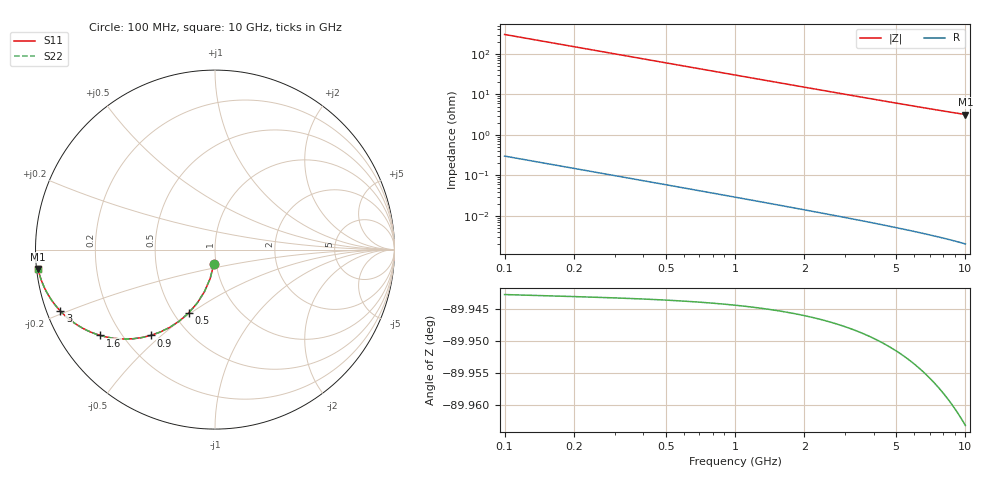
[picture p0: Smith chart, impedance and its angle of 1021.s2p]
# Hz S RI R 50.00
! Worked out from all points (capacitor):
!   100 points, 100 MHz to 10 GHz, reference 50 ohm
!   read as one part in shunt: C = 5.29 pF near 100 MHz
!   lowest |Z| = 3.19 ohm at 10 GHz (marker M1)
!   S11 on the Smith chart (normalised r, x): 100 MHz: 0.97, -0.16; 500 MHz: 0.59, -0.49; 900 MHz: 0.31, -0.46; 1.6 GHz: 0.12, -0.33; 3 GHz: 0.04, -0.19; 10 GHz: 0.00, -0.05
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1e8  -0.00689 -0.0824  0.993 -0.0826  0.993 -0.0826  -0.00689 -0.0824
2e8  -0.027 -0.1614  0.9729 -0.1618  0.9729 -0.1618  -0.027 -0.1614
3e8  -0.0586 -0.2342  0.9413 -0.2348  0.9413 -0.2348  -0.0586 -0.2342
4e8  -0.0996 -0.2987  0.9003 -0.2994  0.9003 -0.2994  -0.0996 -0.2987
5e8  -0.1473 -0.3535  0.8526 -0.3544  0.8526 -0.3544  -0.1473 -0.3535
6e8  -0.1991 -0.3983  0.8008 -0.3994  0.8008 -0.3994  -0.1991 -0.3983
7e8  -0.2528 -0.4335  0.7471 -0.4347  0.7471 -0.4347  -0.2528 -0.4335
9e8  -0.3585 -0.4783  0.6414 -0.4799  0.6414 -0.4799  -0.3585 -0.4783
1.2e9  -0.4982 -0.4984  0.5017 -0.5005  0.5017 -0.5005  -0.4982 -0.4984
1.4e9  -0.5747 -0.4927  0.4252 -0.4951  0.4252 -0.4951  -0.5747 -0.4927
1.6e9  -0.6382 -0.4786  0.3617 -0.4814  0.3617 -0.4814  -0.6382 -0.4786
1.8e9  -0.6906 -0.4601  0.3093 -0.4633  0.3093 -0.4633  -0.6906 -0.4601
2e9  -0.7337 -0.4397  0.2662 -0.4432  0.2662 -0.4432  -0.7337 -0.4397
2.3e9  -0.7846 -0.4085  0.2153 -0.4125  0.2153 -0.4125  -0.7846 -0.4085
2.6e9  -0.8232 -0.3787  0.1767 -0.3832  0.1767 -0.3832  -0.8232 -0.3787
3e9  -0.8611 -0.3427  0.1388 -0.348  0.1388 -0.348  -0.8611 -0.3427
3.4e9  -0.8884 -0.3113  0.1115 -0.3173  0.1115 -0.3173  -0.8884 -0.3113
4.2e9  -0.924 -0.2607  0.0759 -0.2681  0.0759 -0.2681  -0.924 -0.2607
5.1e9  -0.9472 -0.2185  0.0527 -0.2275  0.0527 -0.2275  -0.9472 -0.2185
6.7e9  -0.9688 -0.1671  0.031 -0.1791  0.031 -0.1791  -0.9688 -0.1671
8.4e9  -0.98 -0.1314  0.0198 -0.1466  0.0198 -0.1466  -0.98 -0.1314
1e10  -0.9859 -0.1076  0.0138 -0.1259  0.0138 -0.1259  -0.9859 -0.1076
